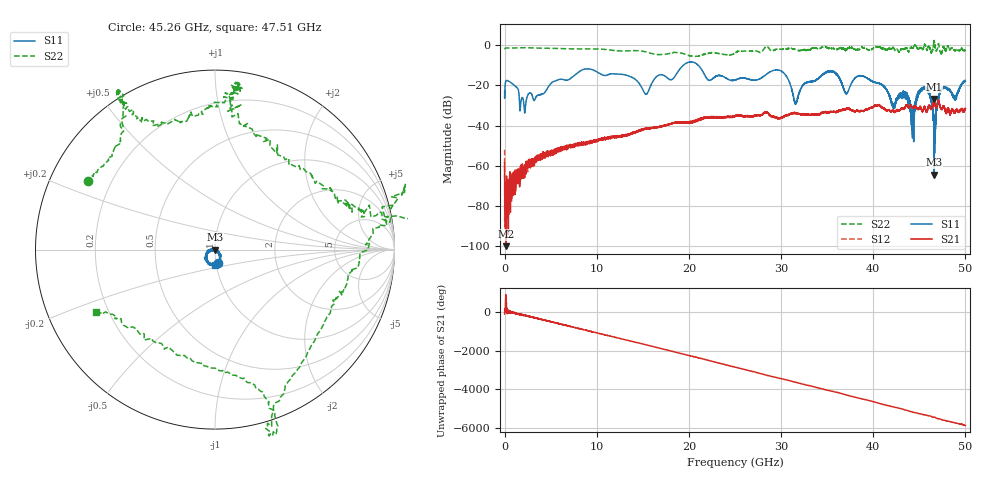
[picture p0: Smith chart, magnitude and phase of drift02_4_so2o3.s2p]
!Created with skrf (http://scikit-rf.org).
# Hz S RI R 50.0
!freq ReS11 ImS11 ReS21 ImS21 ReS12 ImS12 ReS22 ImS22
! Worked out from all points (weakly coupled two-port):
!   10001 points, 300 kHz to 50 GHz, reference 50 ohm
!   highest |S21| = -26.82 dB at 46.6 GHz (marker M1); lowest = -100.0 dB at 140.3 MHz (marker M2)
!   lowest |S11| = -64.4 dB at 46.6 GHz (marker M3), VSWR 1.00, Z = 50.1 + j0.0225 ohm
!   |S11| at or under -10 dB: start of sweep to 19.41 GHz; 21 GHz to end of sweep
!   |S22| runs from -5.7 to 2.3 dB; largest |S21 - S12| = 0.0035
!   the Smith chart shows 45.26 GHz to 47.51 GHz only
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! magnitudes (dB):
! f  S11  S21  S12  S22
! 300 kHz  -22.8  -58.4  -52.1  -2.1
! 140.3 MHz  -17.8  -100.0  -76.0  -1.5
! 2.185 GHz  -33.7  -62.4  -62.1  -1.3
! 8.335 GHz  -12.5  -49.6  -48.8  -1.9
! 15.34 GHz  -24.4  -41.4  -41.5  -3.4
! 16.67 GHz  -15.1  -40.9  -40.8  -4.7
! 20.28 GHz  -8.3  -38.3  -38.4  -5.4
! 25 GHz  -17.3  -35.5  -35.5  -3.9
! 29.84 GHz  -12.6  -36.1  -36.5  -2.0
! 31.59 GHz  -29.0  -33.7  -33.9  -2.4
! 33.34 GHz  -18.1  -34.4  -34.5  -1.6
! 35.6 GHz  -13.0  -33.3  -33.4  -1.7
! 37.1 GHz  -24.3  -31.7  -31.7  -2.1
! 38.75 GHz  -15.3  -32.6  -32.7  -1.1
! 41.67 GHz  -24.3  -32.3  -32.2  -1.9
! 43.5 GHz  -26.8  -30.4  -30.8  -1.6
! 44.27 GHz  -33.0  -31.4  -31.1  -1.6
! 45.7 GHz  -21.8  -32.6  -32.5  -0.9
! 46.6 GHz  -40.7  -26.8  -26.9  1.8
! 46.6 GHz  -64.4  -27.1  -27.2  1.8
! 47.46 GHz  -21.8  -32.0  -31.8  -3.7
! 50 GHz  -17.9  -31.6  -31.6  -2.6
